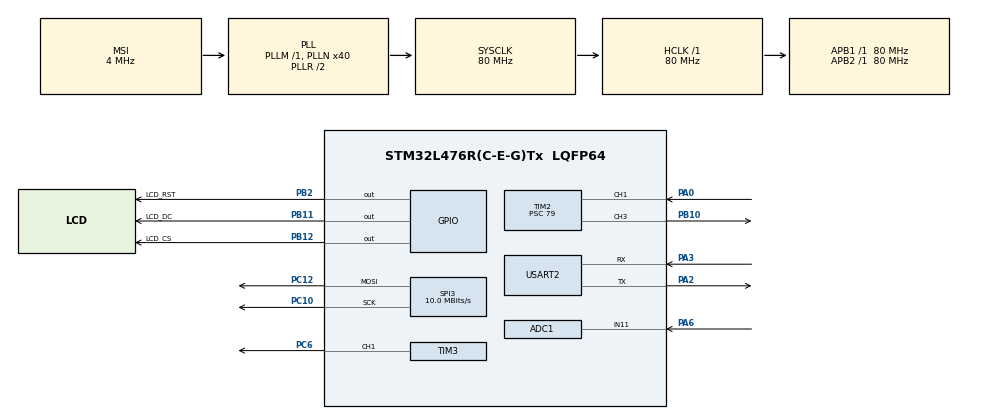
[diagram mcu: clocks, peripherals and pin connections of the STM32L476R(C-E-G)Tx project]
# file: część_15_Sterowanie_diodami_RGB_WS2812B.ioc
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ADC1.Channel-0\#ChannelRegularConversion=ADC_CHANNEL_11
ADC1.ContinuousConvMode=ENABLE
ADC1.NbrOfConversionFlag=1
ADC1.OffsetNumber-0\#ChannelRegularConversion=ADC_OFFSET_NONE
ADC1.Overrun=ADC_OVR_DATA_OVERWRITTEN
ADC1.Rank-0\#ChannelRegularConversion=1
ADC1.SamplingTime-0\#ChannelRegularConversion=ADC_SAMPLETIME_640CYCLES_5
ADC1.master=1
Dma.Request0=SPI3_TX
Dma.Request1=TIM3_CH1/TRIG
Dma.SPI3_TX.0.Direction=DMA_MEMORY_TO_PERIPH
Dma.SPI3_TX.0.Instance=DMA2_Channel2
Dma.SPI3_TX.0.MemDataAlignment=DMA_MDATAALIGN_BYTE
Dma.SPI3_TX.0.MemInc=DMA_MINC_ENABLE
Dma.SPI3_TX.0.Mode=DMA_NORMAL
Dma.SPI3_TX.0.PeriphDataAlignment=DMA_PDATAALIGN_BYTE
Dma.SPI3_TX.0.PeriphInc=DMA_PINC_DISABLE
Dma.SPI3_TX.0.Priority=DMA_PRIORITY_LOW
Dma.TIM3_CH1/TRIG.1.Direction=DMA_MEMORY_TO_PERIPH
Dma.TIM3_CH1/TRIG.1.Instance=DMA1_Channel6
Dma.TIM3_CH1/TRIG.1.MemDataAlignment=DMA_MDATAALIGN_BYTE
Dma.TIM3_CH1/TRIG.1.MemInc=DMA_MINC_ENABLE
Dma.TIM3_CH1/TRIG.1.Mode=DMA_NORMAL
Dma.TIM3_CH1/TRIG.1.PeriphDataAlignment=DMA_PDATAALIGN_HALFWORD
Dma.TIM3_CH1/TRIG.1.PeriphInc=DMA_PINC_DISABLE
Dma.TIM3_CH1/TRIG.1.Priority=DMA_PRIORITY_LOW
Mcu.Family=STM32L4
Mcu.Name=STM32L476R(C-E-G)Tx
Mcu.Package=LQFP64
NVIC.DMA1_Channel6_IRQn=true\:0\:0\:false\:false\:true\:false\:true\:true
NVIC.DMA2_Channel2_IRQn=true\:2\:0\:true\:false\:true\:false\:true\:true
NVIC.PriorityGroup=NVIC_PRIORITYGROUP_4
NVIC.USART2_IRQn=true\:12\:0\:true\:false\:true\:true\:true\:true
PA0.Signal=S_TIM2_CH1
PA2.Mode=Asynchronous
PA2.Signal=USART2_TX
PA3.Mode=Asynchronous
PA3.Signal=USART2_RX
PA6.Signal=ADCx_IN11
PB10.Signal=S_TIM2_CH3
PB11.GPIO_Label=LCD_DC
PB11.Signal=GPIO_Output
PB12.GPIO_Label=LCD_CS
PB12.PinState=GPIO_PIN_SET
PB12.Signal=GPIO_Output
PB2.GPIO_Label=LCD_RST
PB2.Signal=GPIO_Output
PC10.Mode=TX_Only_Simplex_Unidirect_Master
PC10.Signal=SPI3_SCK
PC12.Mode=TX_Only_Simplex_Unidirect_Master
PC12.Signal=SPI3_MOSI
PC6.Signal=S_TIM3_CH1
ProjectManager.HeapSize=0x200
ProjectManager.StackSize=0x400
ProjectManager.TargetToolchain=STM32CubeIDE
RCC.ADCFreq_Value=32000000
RCC.AHBFreq_Value=80000000
RCC.APB1Freq_Value=80000000
RCC.APB1TimFreq_Value=80000000
RCC.APB2Freq_Value=80000000
RCC.APB2TimFreq_Value=80000000
RCC.CortexFreq_Value=80000000
RCC.HCLKFreq_Value=80000000
RCC.HSE_VALUE=8000000
RCC.HSI_VALUE=16000000
RCC.LSE_VALUE=32768
RCC.MSI_VALUE=4000000
RCC.PLLN=40
RCC.PLLSAI1N=16
RCC.SYSCLKFreq_VALUE=80000000
RCC.SYSCLKSource=RCC_SYSCLKSOURCE_PLLCLK
RCC.USBFreq_Value=32000000
RCC.VCOOutputFreq_Value=160000000
SH.ADCx_IN11.0=ADC1_IN11,IN11-Single-Ended
SH.S_TIM2_CH1.0=TIM2_CH1,Input_Capture1_from_TI1
SH.S_TIM2_CH3.0=TIM2_CH3,PWM Generation3 CH3
SH.S_TIM3_CH1.0=TIM3_CH1,PWM Generation1 CH1
SPI3.BaudRatePrescaler=SPI_BAUDRATEPRESCALER_8
SPI3.CalculateBaudRate=10.0 MBits/s
SPI3.DataSize=SPI_DATASIZE_8BIT
SPI3.Direction=SPI_DIRECTION_2LINES
SPI3.Mode=SPI_MODE_MASTER
SPI3.NSSPMode=SPI_NSS_PULSE_DISABLE
SPI3.VirtualType=VM_MASTER
TIM2.Channel-Input_Capture1_from_TI1=TIM_CHANNEL_1
TIM2.Channel-Input_Capture2_from_TI1_63=TIM_CHANNEL_2
TIM2.Channel-PWM\ Generation3\ CH3=TIM_CHANNEL_3
TIM2.ICPolarity_CH1=TIM_INPUTCHANNELPOLARITY_RISING
TIM2.ICPolarity_CH2=TIM_INPUTCHANNELPOLARITY_FALLING
TIM2.Period=999999
TIM2.Prescaler=79
TIM2.Pulse-PWM\ Generation3\ CH3=10
TIM3.Channel-PWM\ Generation1\ CH1=TIM_CHANNEL_1
TIM3.Period=99
USART2.VirtualMode-Asynchronous=VM_ASYNC
VP_TIM2_VS_ClockSourceINT.Mode=Internal
VP_TIM2_VS_indirect_ch1.Mode=Input_Capture2_from_TI1_63
VP_TIM3_VS_ClockSourceINT.Mode=Internal
board=custom

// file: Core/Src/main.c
/* USER CODE BEGIN Header */
/**
  ******************************************************************************
  * @file           : main.c
  * @brief          : Main program body
  ******************************************************************************
  * @attention
  *
  * Copyright (c) 2026 STMicroelectronics.
  * All rights reserved.
  *
  * This software is licensed under terms that can be found in the LICENSE file
  * in the root directory of this software component.
  * If no LICENSE file comes with this software, it is provided AS-IS.
  *
  ******************************************************************************
  */
/* USER CODE END Header */
#include "main.h"
#include "adc.h"
#include "dma.h"
#include "spi.h"
#include "tim.h"
#include "usart.h"
#include "gpio.h"

/* USER CODE BEGIN Includes */
#include "stdio.h"
#include "hagl.h"
#include "font6x9.h"
#include "rgb565.h"
#include "string.h"
#include "ws2812b.h"
#include "stddef.h"
/* USER CODE END Includes */

void SystemClock_Config(void);

int main(void)
{

  /* MCU Configuration--------------------------------------------------------*/

  /* Reset of all peripherals, Initializes the Flash interface and the Systick. */
  HAL_Init();

  /* Configure the system clock */
  SystemClock_Config();

  /* Initialize all configured peripherals */
  MX_GPIO_Init();
  MX_DMA_Init();
  MX_USART2_UART_Init();
  MX_SPI3_Init();
  MX_TIM2_Init();
  MX_ADC1_Init();
  MX_TIM3_Init();
  /* USER CODE BEGIN 2 */
lcd_init(&hspi3);
hagl_backend_t *display = hagl_init();
wchar_t textBuffer[24];

HAL_TIM_IC_Start(&htim2, TIM_CHANNEL_1);
HAL_TIM_IC_Start(&htim2, TIM_CHANNEL_2);
HAL_TIM_PWM_Start(&htim2, TIM_CHANNEL_3);

HAL_ADCEx_Calibration_Start(&hadc1, ADC_SINGLE_ENDED);
HAL_ADC_Start(&hadc1);

ws2812b_init(&htim3, TIM_CHANNEL_1);

hagl_put_text(display, L"HC-SR04", 10, 10, rgb565(180, 255, 120), font6x9);
hagl_put_text(display, L"LM35", 10, 60, rgb565(180, 255, 120), font6x9);
hagl_put_text(display, L"WS2812B", 10, 100, rgb565(180, 255, 120), font6x9);
hagl_flush(display);

HAL_Delay(500);
/* USER CODE END 2 */

  /* Infinite loop */
  while (1)
  {

    /* USER CODE BEGIN 3 */
	  while(lcd_is_busy()) {}

	  uint32_t rising_edge = HAL_TIM_ReadCapturedValue(&htim2, TIM_CHANNEL_1);
	  uint32_t falling_edge = HAL_TIM_ReadCapturedValue(&htim2, TIM_CHANNEL_2);

	  float temperature = HAL_ADC_GetValue(&hadc1) * 330.0f / 4096.0f;
	  float speed = 331.8f + 0.6f * temperature;

	  float distance = (falling_edge - rising_edge) * speed / 20000.0f;

	  uint8_t r = 0, g = 0, b = 0;
	  const wchar_t *status;

	  for (int led = 0; led < 7; led++) {
		  if (distance > 30.0f) {
			  b = 120;
			  status = L"Too far ";
			  ws2812b_set_color(led, r, g, b);
		  } else if (distance < 10.0f) {
			  r =120;
			  status = L"Too close";
			  ws2812b_set_color(led, r, g, b);
		  } else {
			  g = 120;
			  status = L"OK       ";
			  ws2812b_set_color(led, r, g, b);
		  }
		  ws2812b_update();
		  HAL_Delay(10);
	  }
	  printf("Rising edge: %lu Falling edge: %lu Distance: %.3f cm\n", rising_edge, falling_edge, distance);
	  	  	  printf("Temperature: %.2f\u00B0C Speed %5.1f\n", temperature, speed);

	  	  	  swprintf(textBuffer, sizeof(textBuffer)/sizeof(wchar_t), L"Rising edge: %lu", rising_edge);
	  	  	  hagl_put_text(display, textBuffer, 10, 20, rgb565(255, 255, 255), font6x9);

	  	  	  swprintf(textBuffer, sizeof(textBuffer)/sizeof(wchar_t), L"Falling edge: %lu", falling_edge);
	  	  	  hagl_put_text(display, textBuffer, 10, 30, rgb565(255, 255, 255), font6x9);

	  	  	  swprintf(textBuffer, sizeof(textBuffer)/sizeof(wchar_t), L"Distance: %06.2f cm", distance);
	  	  	  hagl_put_text(display, textBuffer, 10, 40, rgb565(255, 255, 255), font6x9);

	  	  	  swprintf(textBuffer, sizeof(textBuffer)/sizeof(wchar_t), L"Temperature: %.2f \u00B0C", temperature);
	  	  	  hagl_put_text(display, textBuffer, 10, 70, rgb565(255, 255, 255), font6x9);

	  	  	  swprintf(textBuffer, sizeof(textBuffer)/sizeof(wchar_t), L"Speed: %5.1f m/s", speed);
	  	  	  hagl_put_text(display, textBuffer, 10, 80, rgb565(255, 255, 255), font6x9);

	  	  	  hagl_put_text(display, L"Status: ", 10, 110, rgb565(255, 255, 255), font6x9);
	  	  	  hagl_put_text(display, status, 60, 110, rgb565(r, g, b), font6x9);

	  	  	  hagl_flush(display);
  }

  HAL_Delay(500);
  /* USER CODE END 3 */
}

void SystemClock_Config(void)
{
  RCC_OscInitTypeDef RCC_OscInitStruct = {0};
  RCC_ClkInitTypeDef RCC_ClkInitStruct = {0};

  /** Configure the main internal regulator output voltage
  */
  if (HAL_PWREx_ControlVoltageScaling(PWR_REGULATOR_VOLTAGE_SCALE1) != HAL_OK)
  {
    Error_Handler();
  }

  /** Initializes the RCC Oscillators according to the specified parameters
  * in the RCC_OscInitTypeDef structure.
  */
  RCC_OscInitStruct.OscillatorType = RCC_OSCILLATORTYPE_MSI;
  RCC_OscInitStruct.MSIState = RCC_MSI_ON;
  RCC_OscInitStruct.MSICalibrationValue = 0;
  RCC_OscInitStruct.MSIClockRange = RCC_MSIRANGE_6;
  RCC_OscInitStruct.PLL.PLLState = RCC_PLL_ON;
  RCC_OscInitStruct.PLL.PLLSource = RCC_PLLSOURCE_MSI;
  RCC_OscInitStruct.PLL.PLLM = 1;
  RCC_OscInitStruct.PLL.PLLN = 40;
  RCC_OscInitStruct.PLL.PLLP = RCC_PLLP_DIV7;
  RCC_OscInitStruct.PLL.PLLQ = RCC_PLLQ_DIV2;
  RCC_OscInitStruct.PLL.PLLR = RCC_PLLR_DIV2;
  if (HAL_RCC_OscConfig(&RCC_OscInitStruct) != HAL_OK)
  {
    Error_Handler();
  }

  /** Initializes the CPU, AHB and APB buses clocks
  */
  RCC_ClkInitStruct.ClockType = RCC_CLOCKTYPE_HCLK|RCC_CLOCKTYPE_SYSCLK
                              |RCC_CLOCKTYPE_PCLK1|RCC_CLOCKTYPE_PCLK2;
  RCC_ClkInitStruct.SYSCLKSource = RCC_SYSCLKSOURCE_PLLCLK;
  RCC_ClkInitStruct.AHBCLKDivider = RCC_SYSCLK_DIV1;
  RCC_ClkInitStruct.APB1CLKDivider = RCC_HCLK_DIV1;
  RCC_ClkInitStruct.APB2CLKDivider = RCC_HCLK_DIV1;

  if (HAL_RCC_ClockConfig(&RCC_ClkInitStruct, FLASH_LATENCY_4) != HAL_OK)
  {
    Error_Handler();
  }
}

void Error_Handler(void)
{
  __disable_irq();
  while (1)
  {
  }
}
